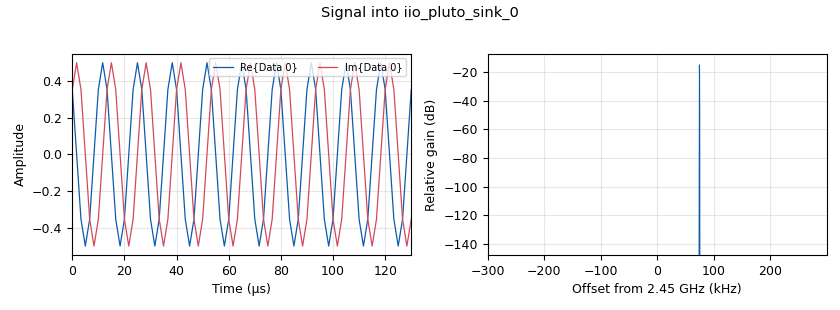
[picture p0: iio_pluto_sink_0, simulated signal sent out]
options:
  parameters:
    generate_options: no_gui
    id: demo_tx
    output_language: python
    title: RELIA tone spectrum demo
  states: {}

blocks:
- name: center_freq
  id: variable
  parameters:
    value: '2450'
  states: {}
- name: device_url
  id: variable
  parameters:
    value: '"192.168.3.1"'
  states: {}
- name: samp_rate
  id: variable
  parameters:
    value: '600000'
  states: {}
- name: start_freq
  id: variable
  parameters:
    value: center_freq*1000000 - samp_rate/2
  states: {}
- name: step
  id: variable
  parameters:
    value: samp_rate/vec_len
  states: {}
- name: stop_freq
  id: variable
  parameters:
    value: center_freq*1000000 + samp_rate/2
  states: {}
- name: vec_len
  id: variable
  parameters:
    value: '1024'
  states: {}
- name: analog_sig_source_x_0
  id: analog_sig_source_x
  parameters:
    amp: '0.5'
    freq: '75000'
    offset: '0'
    phase: '0'
    samp_rate: samp_rate
    type: complex
    waveform: analog.GR_COS_WAVE
  states: {}
- name: iio_pluto_sink_0
  id: iio_pluto_sink
  parameters:
    attenuation1: '40'
    bandwidth: '600000'
    buffer_size: '32768'
    cyclic: 'False'
    filter_source: '''Auto'''
    frequency: center_freq*1000000
    samplerate: samp_rate
    type: fc32
    uri: device_url
  states: {}

connections:
- [analog_sig_source_x_0, '0', iio_pluto_sink_0, '0']

metadata:
  file_format: 1
